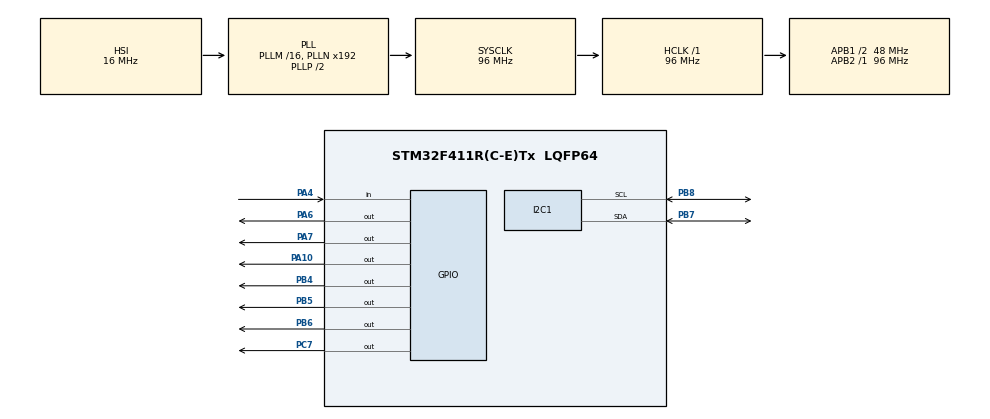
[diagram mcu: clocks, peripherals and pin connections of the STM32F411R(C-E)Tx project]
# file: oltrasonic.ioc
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I2C1.I2C_Mode=I2C_Fast
Mcu.Family=STM32F4
Mcu.Name=STM32F411R(C-E)Tx
Mcu.Package=LQFP64
NVIC.PriorityGroup=NVIC_PRIORITYGROUP_4
PA10.Signal=GPIO_Output
PA4.Signal=GPIO_Input
PA6.Signal=GPIO_Output
PA7.Signal=GPIO_Output
PB4.Signal=GPIO_Output
PB5.Signal=GPIO_Output
PB6.Signal=GPIO_Output
PB7.Mode=I2C
PB7.Signal=I2C1_SDA
PB8.Mode=I2C
PB8.Signal=I2C1_SCL
PC7.Signal=GPIO_Output
PH0\ -\ OSC_IN.Mode=HSE-External-Oscillator
PH0\ -\ OSC_IN.Signal=RCC_OSC_IN
PH1\ -\ OSC_OUT.Mode=HSE-External-Oscillator
PH1\ -\ OSC_OUT.Signal=RCC_OSC_OUT
ProjectManager.HeapSize=0x200
ProjectManager.StackSize=0x400
ProjectManager.TargetToolchain=STM32CubeIDE
RCC.48MHZClocksFreq_Value=48000000
RCC.AHBFreq_Value=96000000
RCC.APB1CLKDivider=RCC_HCLK_DIV2
RCC.APB1Freq_Value=48000000
RCC.APB1TimFreq_Value=96000000
RCC.APB2Freq_Value=96000000
RCC.APB2TimFreq_Value=96000000
RCC.CortexFreq_Value=96000000
RCC.HCLKFreq_Value=96000000
RCC.HSE_VALUE=25000000
RCC.HSI_VALUE=16000000
RCC.LSE_VALUE=32768
RCC.SYSCLKFreq_VALUE=96000000
RCC.SYSCLKSource=RCC_SYSCLKSOURCE_PLLCLK
RCC.VCOOutputFreq_Value=192000000
TIM2.Prescaler=71
VP_TIM2_VS_ClockSourceINT.Mode=Internal
board=custom

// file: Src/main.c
/*
/* USER CODE BEGIN Header */
/**
  ******************************************************************************
  * @file           : main.c
  * @brief          : Main program body
  ******************************************************************************
  * @attention
  *
  * Copyright (c) 2024 STMicroelectronics.
  * All rights reserved.
  *
  * This software is licensed under terms that can be found in the LICENSE file
  * in the root directory of this software component.
  * If no LICENSE file comes with this software, it is provided AS-IS.
  *
  ******************************************************************************
  */
/* USER CODE END Header */
#include "main.h"

/* USER CODE BEGIN Includes */
#include "stdio.h"
#include "lcd.h"
/* USER CODE END Includes */

/* USER CODE BEGIN PD */
#define TRIG_PIN GPIO_PIN_10
#define TRIG_PORT GPIOA
#define ECHO_PIN GPIO_PIN_4
#define ECHO_PORT GPIOA
/* USER CODE END PD */

I2C_HandleTypeDef hi2c1;

TIM_HandleTypeDef htim2;

void SystemClock_Config(void);
static void MX_GPIO_Init(void);
static void MX_TIM2_Init(void);
static void MX_I2C1_Init(void);
/* USER CODE BEGIN PFP */
void Trigger_Ultrasonic(void);
uint32_t Get_Distance(void);
/* USER CODE END PFP */

int main(void)
{

  /* MCU Configuration--------------------------------------------------------*/

  /* Reset of all peripherals, Initializes the Flash interface and the Systick. */
  HAL_Init();

  /* Configure the system clock */
  SystemClock_Config();

  /* Initialize all configured peripherals */
  MX_GPIO_Init();
  MX_TIM2_Init();
  MX_I2C1_Init();
  /* USER CODE BEGIN 2 */

   // Lcd_PortType ports[] = { D4_GPIO_Port, D5_GPIO_Port, D6_GPIO_Port, D7_GPIO_Port };
   Lcd_PortType ports[] = { GPIOC, GPIOB, GPIOA, GPIOA };
   // Lcd_PinType pins[] = {D4_Pin, D5_Pin, D6_Pin, D7_Pin};
   Lcd_PinType pins[] = {GPIO_PIN_7, GPIO_PIN_6, GPIO_PIN_7, GPIO_PIN_6};
   Lcd_HandleTypeDef lcd;
   // Lcd_create(ports, pins, RS_GPIO_Port, RS_Pin, EN_GPIO_Port, EN_Pin, LCD_4_BIT_MODE);
   lcd = Lcd_create(ports, pins, GPIOB, GPIO_PIN_5, GPIOB, GPIO_PIN_4, LCD_4_BIT_MODE);
   Lcd_cursor(&lcd, 0,2);
   Lcd_string(&lcd, "Distance:");
   Lcd_cursor(&lcd, 1,3);
   HAL_TIM_Base_Start(&htim2);
//   Lcd_cursor(&lcd, 0,1);
//   Lcd_string(&lcd, "AIDA joon");
//     for ( int x = 1; x <= 200 ; x++ )
//     {
//       Lcd_cursor(&lcd, 1,4);
//       Lcd_int(&lcd, x);
//       Lcd_string(&lcd, " much <3");
//       HAL_Delay (300);
//     }

  /* USER CODE END 2 */

  /* Infinite loop */
  while (1)
  {
	  uint32_t distance = Get_Distance();

	      char distance_str[16];
	      sprintf(distance_str, "%lu cm", distance);

	      Lcd_cursor(&lcd, 1, 0);
	      Lcd_string(&lcd, distance_str);

	      HAL_Delay(500);
  }
}

void SystemClock_Config(void)
{
  RCC_OscInitTypeDef RCC_OscInitStruct = {0};
  RCC_ClkInitTypeDef RCC_ClkInitStruct = {0};

  /** Configure the main internal regulator output voltage
  */
  __HAL_RCC_PWR_CLK_ENABLE();
  __HAL_PWR_VOLTAGESCALING_CONFIG(PWR_REGULATOR_VOLTAGE_SCALE1);

  /** Initializes the RCC Oscillators according to the specified parameters
  * in the RCC_OscInitTypeDef structure.
  */
  RCC_OscInitStruct.OscillatorType = RCC_OSCILLATORTYPE_HSI;
  RCC_OscInitStruct.HSIState = RCC_HSI_ON;
  RCC_OscInitStruct.HSICalibrationValue = RCC_HSICALIBRATION_DEFAULT;
  RCC_OscInitStruct.PLL.PLLState = RCC_PLL_ON;
  RCC_OscInitStruct.PLL.PLLSource = RCC_PLLSOURCE_HSI;
  RCC_OscInitStruct.PLL.PLLM = 16;
  RCC_OscInitStruct.PLL.PLLN = 192;
  RCC_OscInitStruct.PLL.PLLP = RCC_PLLP_DIV2;
  RCC_OscInitStruct.PLL.PLLQ = 4;
  if (HAL_RCC_OscConfig(&RCC_OscInitStruct) != HAL_OK)
  {
    Error_Handler();
  }

  /** Initializes the CPU, AHB and APB buses clocks
  */
  RCC_ClkInitStruct.ClockType = RCC_CLOCKTYPE_HCLK|RCC_CLOCKTYPE_SYSCLK
                              |RCC_CLOCKTYPE_PCLK1|RCC_CLOCKTYPE_PCLK2;
  RCC_ClkInitStruct.SYSCLKSource = RCC_SYSCLKSOURCE_PLLCLK;
  RCC_ClkInitStruct.AHBCLKDivider = RCC_SYSCLK_DIV1;
  RCC_ClkInitStruct.APB1CLKDivider = RCC_HCLK_DIV2;
  RCC_ClkInitStruct.APB2CLKDivider = RCC_HCLK_DIV1;

  if (HAL_RCC_ClockConfig(&RCC_ClkInitStruct, FLASH_LATENCY_3) != HAL_OK)
  {
    Error_Handler();
  }
}

static void MX_I2C1_Init(void)
{

  hi2c1.Instance = I2C1;
  hi2c1.Init.ClockSpeed = 400000;
  hi2c1.Init.DutyCycle = I2C_DUTYCYCLE_2;
  hi2c1.Init.OwnAddress1 = 0;
  hi2c1.Init.AddressingMode = I2C_ADDRESSINGMODE_7BIT;
  hi2c1.Init.DualAddressMode = I2C_DUALADDRESS_DISABLE;
  hi2c1.Init.OwnAddress2 = 0;
  hi2c1.Init.GeneralCallMode = I2C_GENERALCALL_DISABLE;
  hi2c1.Init.NoStretchMode = I2C_NOSTRETCH_DISABLE;
  if (HAL_I2C_Init(&hi2c1) != HAL_OK)
  {
    Error_Handler();
  }

}

static void MX_TIM2_Init(void)
{

  TIM_ClockConfigTypeDef sClockSourceConfig = {0};
  TIM_MasterConfigTypeDef sMasterConfig = {0};

  htim2.Instance = TIM2;
  htim2.Init.Prescaler = 71;
  htim2.Init.CounterMode = TIM_COUNTERMODE_UP;
  htim2.Init.Period = 4294967295;
  htim2.Init.ClockDivision = TIM_CLOCKDIVISION_DIV1;
  htim2.Init.AutoReloadPreload = TIM_AUTORELOAD_PRELOAD_DISABLE;
  if (HAL_TIM_Base_Init(&htim2) != HAL_OK)
  {
    Error_Handler();
  }
  sClockSourceConfig.ClockSource = TIM_CLOCKSOURCE_INTERNAL;
  if (HAL_TIM_ConfigClockSource(&htim2, &sClockSourceConfig) != HAL_OK)
  {
    Error_Handler();
  }
  sMasterConfig.MasterOutputTrigger = TIM_TRGO_RESET;
  sMasterConfig.MasterSlaveMode = TIM_MASTERSLAVEMODE_DISABLE;
  if (HAL_TIMEx_MasterConfigSynchronization(&htim2, &sMasterConfig) != HAL_OK)
  {
    Error_Handler();
  }

}

static void MX_GPIO_Init(void)
{
  GPIO_InitTypeDef GPIO_InitStruct = {0};

  /* GPIO Ports Clock Enable */
  __HAL_RCC_GPIOH_CLK_ENABLE();
  __HAL_RCC_GPIOA_CLK_ENABLE();
  __HAL_RCC_GPIOC_CLK_ENABLE();
  __HAL_RCC_GPIOB_CLK_ENABLE();

  /*Configure GPIO pin Output Level */
  HAL_GPIO_WritePin(GPIOA, GPIO_PIN_6|GPIO_PIN_7|GPIO_PIN_10, GPIO_PIN_RESET);

  /*Configure GPIO pin Output Level */
  HAL_GPIO_WritePin(GPIOC, GPIO_PIN_7, GPIO_PIN_RESET);

  /*Configure GPIO pin Output Level */
  HAL_GPIO_WritePin(GPIOB, GPIO_PIN_4|GPIO_PIN_5|GPIO_PIN_6, GPIO_PIN_RESET);

  /*Configure GPIO pin : PA4 */
  GPIO_InitStruct.Pin = GPIO_PIN_4;
  GPIO_InitStruct.Mode = GPIO_MODE_INPUT;
  GPIO_InitStruct.Pull = GPIO_NOPULL;
  HAL_GPIO_Init(GPIOA, &GPIO_InitStruct);

  /*Configure GPIO pins : PA6 PA7 PA10 */
  GPIO_InitStruct.Pin = GPIO_PIN_6|GPIO_PIN_7|GPIO_PIN_10;
  GPIO_InitStruct.Mode = GPIO_MODE_OUTPUT_PP;
  GPIO_InitStruct.Pull = GPIO_NOPULL;
  GPIO_InitStruct.Speed = GPIO_SPEED_FREQ_LOW;
  HAL_GPIO_Init(GPIOA, &GPIO_InitStruct);

  /*Configure GPIO pin : PC7 */
  GPIO_InitStruct.Pin = GPIO_PIN_7;
  GPIO_InitStruct.Mode = GPIO_MODE_OUTPUT_PP;
  GPIO_InitStruct.Pull = GPIO_NOPULL;
  GPIO_InitStruct.Speed = GPIO_SPEED_FREQ_LOW;
  HAL_GPIO_Init(GPIOC, &GPIO_InitStruct);

  /*Configure GPIO pins : PB4 PB5 PB6 */
  GPIO_InitStruct.Pin = GPIO_PIN_4|GPIO_PIN_5|GPIO_PIN_6;
  GPIO_InitStruct.Mode = GPIO_MODE_OUTPUT_PP;
  GPIO_InitStruct.Pull = GPIO_NOPULL;
  GPIO_InitStruct.Speed = GPIO_SPEED_FREQ_LOW;
  HAL_GPIO_Init(GPIOB, &GPIO_InitStruct);

}

/* USER CODE BEGIN 4 */

// Function to trigger the ultrasonic sensor
void Trigger_Ultrasonic(void)
{
  HAL_GPIO_WritePin(TRIG_PORT, TRIG_PIN, GPIO_PIN_SET);
  HAL_Delay(1);  // 10 µs pulse
  HAL_GPIO_WritePin(TRIG_PORT, TRIG_PIN, GPIO_PIN_RESET);
}

// Function to measure distance using the ultrasonic sensor
uint32_t Get_Distance(void)
{
  uint32_t startTick, endTick, pulseWidth;

  Trigger_Ultrasonic();

  // Wait for ECHO to go high
  while (HAL_GPIO_ReadPin(ECHO_PORT, ECHO_PIN) == GPIO_PIN_RESET);

  startTick = __HAL_TIM_GET_COUNTER(&htim2);

  // Wait for ECHO to go low
  while (HAL_GPIO_ReadPin(ECHO_PORT, ECHO_PIN) == GPIO_PIN_SET);

  endTick = __HAL_TIM_GET_COUNTER(&htim2);

  pulseWidth = endTick - startTick;

  // Calculate distance in cm (assuming speed of sound is 343 m/s)
  // Distance = (pulseWidth / 2) * (speed of sound in cm/s) / timer frequency
  uint32_t distance = (pulseWidth * 34300) / (2 * 1000000); // cm

  return distance;
}

/* USER CODE END 4 */

void Error_Handler(void)
{
  __disable_irq();
  while (1)
  {
  }
}
